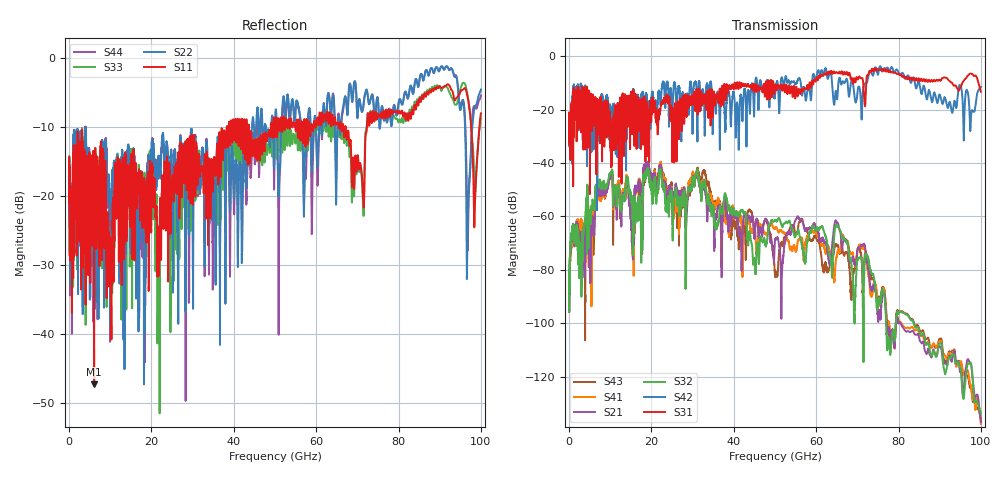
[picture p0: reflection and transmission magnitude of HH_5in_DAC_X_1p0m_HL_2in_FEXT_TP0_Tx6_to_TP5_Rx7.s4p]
# GHz S RI R 45
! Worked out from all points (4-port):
!   4000 points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, 25 MHz to 100 GHz, reference 45 ohm
!   strongest paths, dB at 25 MHz, 25.02 GHz, 50.02 GHz, 75.03 GHz, 100 GHz:
!     S31: -22.2, -25.6, -11.1, -5.2, -13.3
!     S42: -22.0, -22.6, -14.7, -7.0, -11.5
!     S32: -87.9, -54.5, -61.6, -92.3, -133.8
!     S21: -94.9, -53.7, -69.2, -97.5, -137.1
!     S41: -95.5, -51.2, -64.6, -91.5, -137.7
!     S43: -93.0, -49.9, -82.5, -92.2, -136.0
!   lowest |S11| = -47.2 dB at 6.1 GHz (marker M1), VSWR 1.01, Z = 44.9 - j0.376 ohm
!   |S11| at or under -10 dB: start of sweep to 38.29 GHz; 43.68 GHz to 49.03 GHz (5.358 GHz wide, 11.6 % of centre); 67.18 GHz to 72.31 GHz (5.134 GHz wide, 7.36 % of centre)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
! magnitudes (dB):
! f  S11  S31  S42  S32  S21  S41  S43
! 25 MHz  -15.4  -22.2  -22.0  -87.9  -94.9  -95.5  -93.0
! 6.1 GHz  -47.2  -23.0  -24.3  -56.8  -66.2  -64.6  -67.1
! 32.77 GHz  -17.5  -17.8  -17.5  -47.2  -48.4  -46.9  -43.0
! 45.02 GHz  -13.6  -13.4  -17.0  -76.1  -68.4  -62.7  -66.6
! 50.3 GHz  -8.6  -12.1  -10.8  -61.8  -68.6  -64.0  -81.1
! 56.33 GHz  -10.5  -12.8  -10.8  -68.7  -61.5  -68.4  -61.5
! 100 GHz  -8.0  -13.3  -11.5  -133.8  -137.1  -137.7  -136.0
